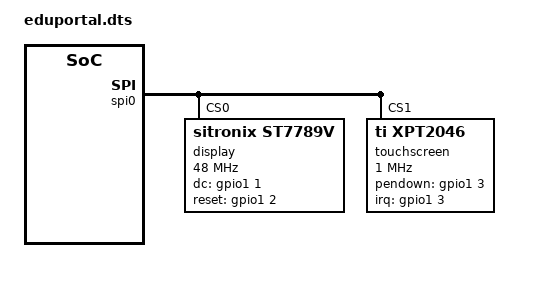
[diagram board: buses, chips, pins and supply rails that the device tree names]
/* eduportal.dts - Device Tree for Luckfox Pico Ultra + 3.5" SPI Display */
/dts-v1/;
/plugin/;

&spi0 {
    status = "okay";
    pinctrl-names = "default";
    pinctrl-0 = <&spi0m0_pins>;

    /* ST7789 SPI Display */
    display@0 {
        compatible = "sitronix,st7789v";
        reg = <0>;
        status = "okay";
        spi-max-frequency = <48000000>;
        rotate = <90>;
        fps = <30>;
        buswidth = <8>;
        dc-gpios = <&gpio1 1 0>;    /* GPIO1_A1 */
        reset-gpios = <&gpio1 2 0>;  /* GPIO1_A2 */
    };

    /* XPT2046 Touch Controller */
    touchscreen@1 {
        compatible = "ti,xpt2046";
        reg = <1>;
        status = "okay";
        spi-max-frequency = <1000000>;
        interrupt-parent = <&gpio1>;
        interrupts = <3 2>;    /* GPIO1_A3, IRQ_TYPE_EDGE_FALLING */
        pendown-gpio = <&gpio1 3 0>;
        
        touchscreen-size-x = <480>;
        touchscreen-size-y = <320>;
        touchscreen-inverted-x;
        touchscreen-swapped-x-y;
    };
};
